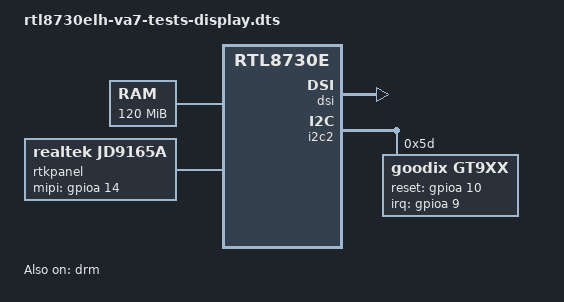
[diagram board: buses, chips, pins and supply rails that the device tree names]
// SPDX-License-Identifier: GPL-2.0-only
/*
* Realtek DTS for display test
*
* Copyright (C) 2023, Realtek Corporation. All rights reserved.
*/

/dts-v1/;

#include "rtl8730e.dtsi"
#include "rtl8730e-spi-nand-128m.dtsi"
#include "rtl8730e-drm.dtsi"

/ {
	memory {
		device_type = "memory";
		// DRAM base address should be 2MB-aligned.
		reg = <0x60800000 0x7800000>;  // 128MB -- exclude 8MB secure memory
	};
	reserved-memory {
		#address-cells = <1>;
		#size-cells = <1>;
		ranges;
		// reserver 32M mem for drm graphics , from 0x61000000 to 0x63000000
		mem_drm_reserved: drm_buffer@0x61000000 {
			compatible = "shared-dma-pool";
			no-map;
			reg = <0x61000000 0x2000000>;
			//linux,cma-default;
		};
	};
};

// Configure peripherals, avoid pinmux conflicts.


&drm {
	status = "okay";
};

&dsi {
	status = "okay";
};

&rtkpanel {
	compatible = "realtek,jd9165a";
	pinctrl-names="default";
	pinctrl-0 = <&drm_disable_swd_pins>;
	mipi-gpios = <&gpioa 14 0>;
	status = "okay";
};

&i2c0{
	pinctrl-names = "default";
	pinctrl-0 = <&i2c0_pins>;
	status = "disabled";
};

&i2c1{
	pinctrl-names = "default";
	pinctrl-0 = <&i2c1_pins>;
	status = "disabled";
};

&i2c2{
	#address-cells = <1>;
	#size-cells = <0>;
	pinctrl-names = "default";
	pinctrl-0 = <&i2c2_pins>;
	status = "okay";

	gt9xx@5d {
		compatible = "goodix,gt9xx";
		reg = <0x5d>;
		status = "okay";
		interrupt-parent = <&gpioa>;
		interrupts = <9 0x2800>;
		pinctrl-names = "default", "int-output-low","int-output-high", "int-input";
		pinctrl-0 = <&ts_int_default>;
		pinctrl-1 = <&ts_int_output_low>;
		pinctrl-2 = <&ts_int_output_high>;
		pinctrl-3 = <&ts_int_input>;

		reset-gpios = <&gpioa 10 0x0>;
		irq-gpios = <&gpioa 9 0x2800>;
		irq-flags = <2>;

		touchscreen-max-id = <11>;
		touchscreen-size-x = <1080>;
		touchscreen-size-y = <1920>;
		touchscreen-max-w = <512>;
		touchscreen-max-p = <512>;
		touchscreen-key-map = <172>, <158>; /* KEY_HOMEPAGE=172, KEY_BACK=158，KEY_MENU=139 */

		goodix,slide-wakeup = <0>;
		goodix,type-a-report = <0>;
		goodix,driver-send-cfg = <0>;
		goodix,resume-in-workqueue = <0>;
		goodix,int-sync = <1>;
		goodix,swap-x2y = <0>;
		goodix,esd-protect = <1>;
		goodix,auto-update-cfg = <0>;
		oodix,auto-update = <0>;
		goodix,power-off-sleep = <0>;
		goodix,pen-suppress-finger = <0>;
		goodix,cfg-group0 = [
			53 D0 02 00 05 05 F5 D5 21 48 2D 0F 5A 41 0E 05 00 00 32 32 20 00 05 14 14 1A 14 8B 2B 00
		];
	};

	rtk_ts@1a {
		compatible = "realtek,ameba-ts";
		reg = <0x1a>;
		ts-reset-gpios = <&gpioa 10 0>;
		ts-irq-gpios = <&gpioa 9 0>;
		max-touch-number = <5>;
		ts-display-coords = <480 800>;
		status = "disabled";
	};

};

